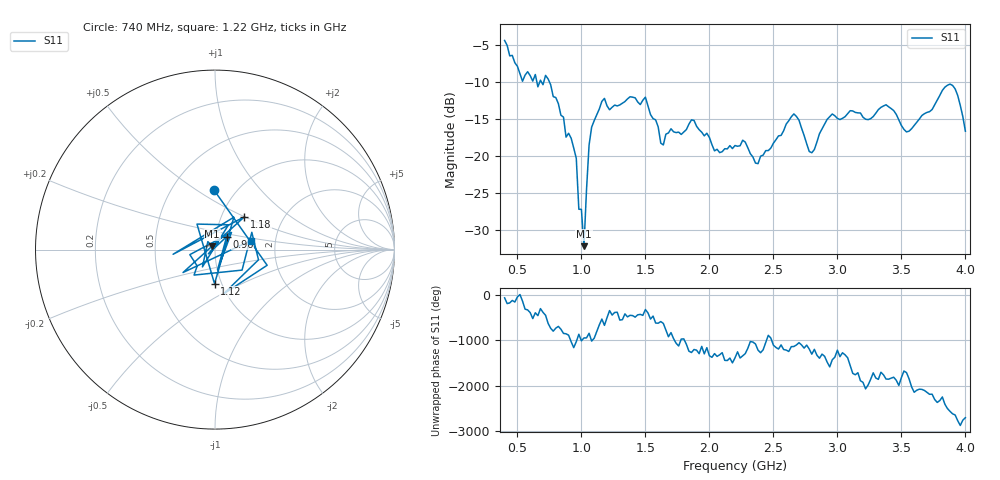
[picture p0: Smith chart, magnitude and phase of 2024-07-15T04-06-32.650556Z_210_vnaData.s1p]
!Created with skrf (http://scikit-rf.org).
# Hz S RI R 50.0
!freq ReS11 ImS11
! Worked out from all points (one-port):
!   181 points, 400 MHz to 4 GHz, reference 50 ohm
!   lowest |S11| = -32.1 dB at 1.02 GHz (marker M1), VSWR 1.05, Z = 48.4 + j1.82 ohm
!   |S11| at or under -10 dB: 652.4 MHz to 674.1 MHz (21.62 MHz wide, 3.26 % of centre); 688.7 MHz to 705.5 MHz (16.74 MHz wide, 2.4 % of centre); 750.9 MHz to end of sweep
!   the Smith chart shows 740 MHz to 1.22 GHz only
!   S11 on the Smith chart (normalised r, x): 740 MHz: 0.79, +0.59; 960 MHz: 1.13, +0.16; 1.12 GHz: 0.93, -0.37; 1.18 GHz: 1.28, +0.50; 1.22 GHz: 1.49, +0.16
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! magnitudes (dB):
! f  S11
! 400 MHz  -4.4
! 540 MHz  -9.9
! 740 MHz  -9.6
! 860 MHz  -14.7
! 960 MHz  -20.3
! 980 MHz  -27.1
! 1 GHz  -27.2
! 1.02 GHz  -32.1
! 1.06 GHz  -18.5
! 1.12 GHz  -14.4
! 1.18 GHz  -12.2
! 1.22 GHz  -13.7
! 1.3 GHz  -13.1
! 1.5 GHz  -12.0
! 1.64 GHz  -18.5
! 1.76 GHz  -16.7
! 1.88 GHz  -15.2
! 2.04 GHz  -19.3
! 2.2 GHz  -18.5
! 2.38 GHz  -21.0
! 2.66 GHz  -14.3
! 2.8 GHz  -19.5
! 2.92 GHz  -15.0
! 3.1 GHz  -13.8
! 3.38 GHz  -13.0
! 3.56 GHz  -16.6
! 3.88 GHz  -10.3
! 4 GHz  -16.6
